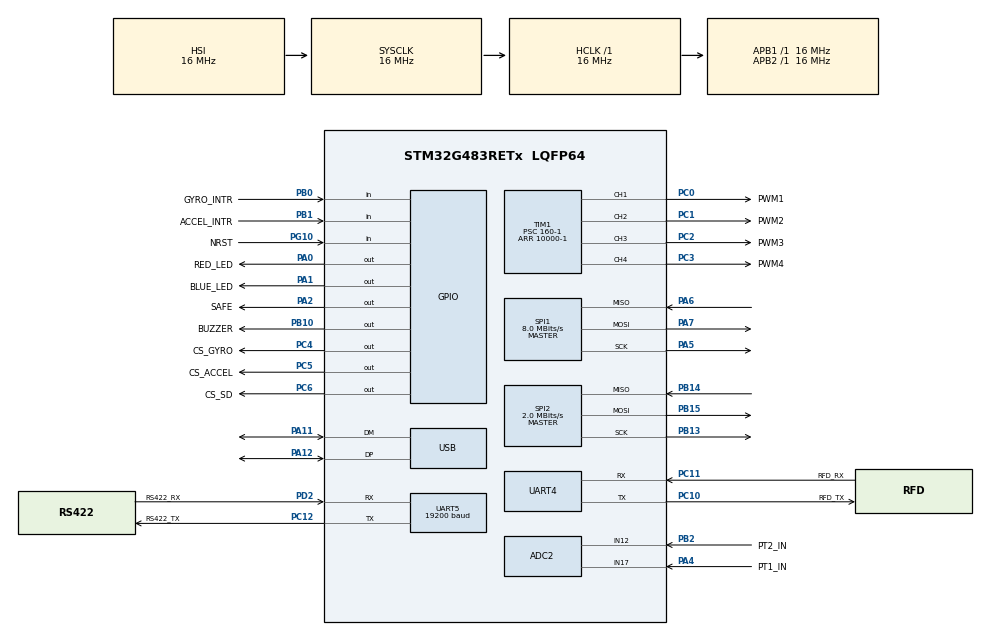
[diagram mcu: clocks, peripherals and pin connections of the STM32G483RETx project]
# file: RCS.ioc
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ADC2.Channel-1\#ChannelRegularConversion=ADC_CHANNEL_17
ADC2.Channel-2\#ChannelRegularConversion=ADC_CHANNEL_12
ADC2.ContinuousConvMode=DISABLE
ADC2.DMAContinuousRequests=ENABLE
ADC2.EOCSelection=ADC_EOC_SEQ_CONV
ADC2.NbrOfConversion=2
ADC2.NbrOfConversionFlag=1
ADC2.OffsetNumber-1\#ChannelRegularConversion=ADC_OFFSET_NONE
ADC2.OffsetNumber-2\#ChannelRegularConversion=ADC_OFFSET_NONE
ADC2.Rank-1\#ChannelRegularConversion=1
ADC2.Rank-2\#ChannelRegularConversion=2
ADC2.SamplingTime-1\#ChannelRegularConversion=ADC_SAMPLETIME_6CYCLES_5
ADC2.SamplingTime-2\#ChannelRegularConversion=ADC_SAMPLETIME_6CYCLES_5
Dma.ADC2.1.Direction=DMA_PERIPH_TO_MEMORY
Dma.ADC2.1.EventEnable=DISABLE
Dma.ADC2.1.Instance=DMA1_Channel2
Dma.ADC2.1.MemDataAlignment=DMA_MDATAALIGN_HALFWORD
Dma.ADC2.1.MemInc=DMA_MINC_ENABLE
Dma.ADC2.1.Mode=DMA_NORMAL
Dma.ADC2.1.PeriphDataAlignment=DMA_PDATAALIGN_HALFWORD
Dma.ADC2.1.PeriphInc=DMA_PINC_DISABLE
Dma.ADC2.1.Polarity=HAL_DMAMUX_REQ_GEN_RISING
Dma.ADC2.1.Priority=DMA_PRIORITY_LOW
Dma.ADC2.1.RequestNumber=1
Dma.ADC2.1.SignalID=NONE
Dma.ADC2.1.SyncEnable=DISABLE
Dma.ADC2.1.SyncPolarity=HAL_DMAMUX_SYNC_NO_EVENT
Dma.ADC2.1.SyncRequestNumber=1
Dma.ADC2.1.SyncSignalID=NONE
Dma.Request0=UART4_RX
Dma.Request1=ADC2
Dma.Request2=UART5_RX
Dma.Request3=UART4_TX
Dma.UART4_RX.0.Direction=DMA_PERIPH_TO_MEMORY
Dma.UART4_RX.0.EventEnable=DISABLE
Dma.UART4_RX.0.Instance=DMA1_Channel1
Dma.UART4_RX.0.MemDataAlignment=DMA_MDATAALIGN_BYTE
Dma.UART4_RX.0.MemInc=DMA_MINC_ENABLE
Dma.UART4_RX.0.Mode=DMA_NORMAL
Dma.UART4_RX.0.PeriphDataAlignment=DMA_PDATAALIGN_BYTE
Dma.UART4_RX.0.PeriphInc=DMA_PINC_DISABLE
Dma.UART4_RX.0.Polarity=HAL_DMAMUX_REQ_GEN_RISING
Dma.UART4_RX.0.Priority=DMA_PRIORITY_LOW
Dma.UART4_RX.0.RequestNumber=1
Dma.UART4_RX.0.SignalID=NONE
Dma.UART4_RX.0.SyncEnable=DISABLE
Dma.UART4_RX.0.SyncPolarity=HAL_DMAMUX_SYNC_NO_EVENT
Dma.UART4_RX.0.SyncRequestNumber=1
Dma.UART4_RX.0.SyncSignalID=NONE
Dma.UART4_TX.3.Direction=DMA_MEMORY_TO_PERIPH
Dma.UART4_TX.3.EventEnable=DISABLE
Dma.UART4_TX.3.Instance=DMA1_Channel4
Dma.UART4_TX.3.MemDataAlignment=DMA_MDATAALIGN_BYTE
Dma.UART4_TX.3.MemInc=DMA_MINC_ENABLE
Dma.UART4_TX.3.Mode=DMA_NORMAL
Dma.UART4_TX.3.PeriphDataAlignment=DMA_PDATAALIGN_BYTE
Dma.UART4_TX.3.PeriphInc=DMA_PINC_DISABLE
Dma.UART4_TX.3.Polarity=HAL_DMAMUX_REQ_GEN_RISING
Dma.UART4_TX.3.Priority=DMA_PRIORITY_LOW
Dma.UART4_TX.3.RequestNumber=1
Dma.UART4_TX.3.SignalID=NONE
Dma.UART4_TX.3.SyncEnable=DISABLE
Dma.UART4_TX.3.SyncPolarity=HAL_DMAMUX_SYNC_NO_EVENT
Dma.UART4_TX.3.SyncRequestNumber=1
Dma.UART4_TX.3.SyncSignalID=NONE
Dma.UART5_RX.2.Direction=DMA_PERIPH_TO_MEMORY
Dma.UART5_RX.2.EventEnable=DISABLE
Dma.UART5_RX.2.Instance=DMA1_Channel3
Dma.UART5_RX.2.MemDataAlignment=DMA_MDATAALIGN_BYTE
Dma.UART5_RX.2.MemInc=DMA_MINC_ENABLE
Dma.UART5_RX.2.Mode=DMA_NORMAL
Dma.UART5_RX.2.PeriphDataAlignment=DMA_PDATAALIGN_BYTE
Dma.UART5_RX.2.PeriphInc=DMA_PINC_DISABLE
Dma.UART5_RX.2.Polarity=HAL_DMAMUX_REQ_GEN_RISING
Dma.UART5_RX.2.Priority=DMA_PRIORITY_LOW
Dma.UART5_RX.2.RequestNumber=1
Dma.UART5_RX.2.SignalID=NONE
Dma.UART5_RX.2.SyncEnable=DISABLE
Dma.UART5_RX.2.SyncPolarity=HAL_DMAMUX_SYNC_NO_EVENT
Dma.UART5_RX.2.SyncRequestNumber=1
Dma.UART5_RX.2.SyncSignalID=NONE
FATFS._MAX_SS=4096
FATFS._USE_LABEL=0
FATFS._USE_LFN=2
FREERTOS.BinarySemaphores01=testSemaphore,Dynamic,NULL,Available
FREERTOS.Mutexes01=AttitudeMutex,Dynamic,NULL,Available
FREERTOS.Tasks01=defaultTask,40,200,StartDefaultTask,Default,NULL,Dynamic,NULL,NULL;controlLoop,47,2000,StartControlLoop,Default,NULL,Dynamic,NULL,NULL;readImu,46,2000,StartReadIMU,Default,NULL,Dynamic,NULL,NULL;stream,28,2000,StartStream,Default,NULL,Dynamic,NULL,NULL;log,29,2000,StartLog,Default,NULL,Dynamic,NULL,NULL;userMenu,8,2000,StartUserMenu,Default,NULL,Dynamic,NULL,NULL
FREERTOS.configCHECK_FOR_STACK_OVERFLOW=2
FREERTOS.configTOTAL_HEAP_SIZE=50000
Mcu.Family=STM32G4
Mcu.Name=STM32G483RETx
Mcu.Package=LQFP64
NVIC.DMA1_Channel1_IRQn=true\:5\:0\:false\:false\:true\:true\:false\:true\:true
NVIC.DMA1_Channel2_IRQn=true\:5\:0\:false\:false\:true\:true\:false\:true\:true
NVIC.DMA1_Channel3_IRQn=true\:5\:0\:false\:false\:true\:true\:false\:true\:true
NVIC.DMA1_Channel4_IRQn=true\:5\:0\:false\:false\:true\:true\:false\:true\:true
NVIC.PriorityGroup=NVIC_PRIORITYGROUP_4
NVIC.TIM6_DAC_IRQn=true\:15\:0\:true\:false\:true\:false\:false\:true\:true
NVIC.TimeBase=TIM6_DAC_IRQn
NVIC.TimeBaseIP=TIM6
NVIC.UART4_IRQn=true\:5\:0\:false\:false\:true\:true\:true\:true\:true
NVIC.USB_LP_IRQn=true\:5\:0\:false\:false\:true\:true\:false\:true\:true
PA0.GPIO_Label=RED_LED
PA0.Signal=GPIO_Output
PA1.GPIO_Label=BLUE_LED
PA1.Signal=GPIO_Output
PA11.Mode=Device
PA11.Signal=USB_DM
PA12.Mode=Device
PA12.Signal=USB_DP
PA13.Mode=Serial_Wire
PA13.Signal=SYS_JTMS-SWDIO
PA14.Mode=Serial_Wire
PA14.Signal=SYS_JTCK-SWCLK
PA2.GPIO_Label=SAFE
PA2.Signal=GPIO_Output
PA4.GPIO_Label=PT1_IN
PA4.Mode=IN17-Single-Ended
PA4.Signal=ADC2_IN17
PA5.Mode=Full_Duplex_Master
PA5.Signal=SPI1_SCK
PA6.Mode=Full_Duplex_Master
PA6.Signal=SPI1_MISO
PA7.Mode=Full_Duplex_Master
PA7.Signal=SPI1_MOSI
PB0.GPIO_Label=GYRO_INTR
PB0.Signal=GPIO_Input
PB1.GPIO_Label=ACCEL_INTR
PB1.Signal=GPIO_Input
PB10.GPIO_Label=BUZZER
PB10.Signal=GPIO_Output
PB13.Mode=Full_Duplex_Master
PB13.Signal=SPI2_SCK
PB14.Mode=Full_Duplex_Master
PB14.Signal=SPI2_MISO
PB15.Mode=Full_Duplex_Master
PB15.Signal=SPI2_MOSI
PB2.GPIO_Label=PT2_IN
PB2.Mode=IN12-Single-Ended
PB2.Signal=ADC2_IN12
PC0.GPIO_Label=PWM1
PC0.Signal=S_TIM1_CH1
PC1.GPIO_Label=PWM2
PC1.Signal=S_TIM1_CH2
PC10.GPIO_Label=RFD_TX
PC10.Mode=Asynchronous
PC10.Signal=UART4_TX
PC11.GPIO_Label=RFD_RX
PC11.Mode=Asynchronous
PC11.Signal=UART4_RX
PC12.GPIO_Label=RS422_TX
PC12.Mode=Asynchronous
PC12.Signal=UART5_TX
PC14-OSC32_IN.Mode=LSE-External-Oscillator
PC14-OSC32_IN.Signal=RCC_OSC32_IN
PC15-OSC32_OUT.Mode=LSE-External-Oscillator
PC15-OSC32_OUT.Signal=RCC_OSC32_OUT
PC2.GPIO_Label=PWM3
PC2.Signal=S_TIM1_CH3
PC3.GPIO_Label=PWM4
PC3.Signal=S_TIM1_CH4
PC4.GPIO_Label=CS_GYRO
PC4.Signal=GPIO_Output
PC5.GPIO_Label=CS_ACCEL
PC5.Signal=GPIO_Output
PC6.GPIO_Label=CS_SD
PC6.GPIO_Speed=GPIO_SPEED_FREQ_HIGH
PC6.PinState=GPIO_PIN_SET
PC6.Signal=GPIO_Output
PD2.GPIO_Label=RS422_RX
PD2.Mode=Asynchronous
PD2.Signal=UART5_RX
PF0-OSC_IN.Mode=HSE-External-Oscillator
PF0-OSC_IN.Signal=RCC_OSC_IN
PF1-OSC_OUT.Mode=HSE-External-Oscillator
PF1-OSC_OUT.Signal=RCC_OSC_OUT
PG10-NRST.GPIO_Label=NRST
PG10-NRST.Signal=GPIO_Input
ProjectManager.HeapSize=0x200
ProjectManager.StackSize=0x400
ProjectManager.TargetToolchain=CMake
RCC.AHBFreq_Value=16000000
RCC.APB1Freq_Value=16000000
RCC.APB1TimFreq_Value=16000000
RCC.APB2Freq_Value=16000000
RCC.APB2TimFreq_Value=16000000
RCC.CortexFreq_Value=16000000
RCC.EXTERNAL_CLOCK_VALUE=12288000
RCC.HCLKFreq_Value=16000000
RCC.HSE_VALUE=48000000
RCC.HSI48_VALUE=48000000
RCC.HSI_VALUE=16000000
RCC.PLLM=RCC_PLLM_DIV3
RCC.PLLN=12
RCC.PLLQ=RCC_PLLQ_DIV4
RCC.PLLSourceVirtual=RCC_PLLSOURCE_HSE
RCC.SYSCLKFreq_VALUE=16000000
RCC.USBFreq_Value=48000000
RCC.VCOOutputFreq_Value=192000000
SH.S_TIM1_CH1.0=TIM1_CH1,PWM Generation1 CH1
SH.S_TIM1_CH2.0=TIM1_CH2,PWM Generation2 CH2
SH.S_TIM1_CH3.0=TIM1_CH3,PWM Generation3 CH3
SH.S_TIM1_CH4.0=TIM1_CH4,PWM Generation4 CH4
SPI1.BaudRatePrescaler=SPI_BAUDRATEPRESCALER_2
SPI1.CalculateBaudRate=8.0 MBits/s
SPI1.DataSize=SPI_DATASIZE_8BIT
SPI1.Direction=SPI_DIRECTION_2LINES
SPI1.Mode=SPI_MODE_MASTER
SPI1.VirtualType=VM_MASTER
SPI2.BaudRatePrescaler=SPI_BAUDRATEPRESCALER_8
SPI2.CalculateBaudRate=2.0 MBits/s
SPI2.DataSize=SPI_DATASIZE_8BIT
SPI2.Direction=SPI_DIRECTION_2LINES
SPI2.Mode=SPI_MODE_MASTER
SPI2.VirtualType=VM_MASTER
TIM1.Channel-PWM\ Generation1\ CH1=TIM_CHANNEL_1
TIM1.Channel-PWM\ Generation2\ CH2=TIM_CHANNEL_2
TIM1.Channel-PWM\ Generation3\ CH3=TIM_CHANNEL_3
TIM1.Channel-PWM\ Generation4\ CH4=TIM_CHANNEL_4
TIM1.PeriodNoDither=10000-1
TIM1.Prescaler=160-1
UART5.BaudRate=19200
UART5.Mode=MODE_RX
USB_DEVICE.APP_RX_DATA_SIZE=512
USB_DEVICE.APP_TX_DATA_SIZE=512
USB_DEVICE.CLASS_NAME_FS=CDC
USB_DEVICE.USBD_SELF_POWERED=1
USB_DEVICE.VirtualMode=Cdc
USB_DEVICE.VirtualModeFS=Cdc_FS
VP_FATFS_VS_Generic.Mode=User_defined
VP_FREERTOS_VS_CMSIS_V2.Mode=CMSIS_V2
VP_SYS_VS_DBSignals.Mode=DisableDeadBatterySignals
VP_SYS_VS_tim6.Mode=TIM6
VP_TIM1_VS_ClockSourceINT.Mode=Internal
VP_TIM2_VS_ClockSourceINT.Mode=Internal
VP_USB_DEVICE_VS_USB_DEVICE_CDC_FS.Mode=CDC_FS
board=custom

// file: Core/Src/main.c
/* USER CODE BEGIN Header */
/**
  ******************************************************************************
  * @file           : main.c
  * @brief          : Main program body
  ******************************************************************************
  * @attention
  *
  * Copyright (c) 2026 STMicroelectronics.
  * All rights reserved.
  *
  * This software is licensed under terms that can be found in the LICENSE file
  * in the root directory of this software component.
  * If no LICENSE file comes with this software, it is provided AS-IS.
  *
  ******************************************************************************
  */
/* USER CODE END Header */
#include "main.h"
#include "PID.h"
#include "cmsis_os.h"
#include "adc.h"
#include "dma.h"
#include "app_fatfs.h"
#include "spi.h"
#include "tim.h"
#include "usart.h"
#include "usb_device.h"
#include "gpio.h"

/* USER CODE BEGIN Includes */
#include "bmi088.h"
#include "ff.h"
#include "control.h"
#include "global.h"
#include "sd.h"
#include "usbd_cdc_if.h"

#include "stm32g483xx.h"
#include "stm32g4xx_hal.h"
#include "stm32g4xx_hal_gpio.h"
#include "stm32g4xx_hal_spi.h"
#include <stdint.h>
#include <stdio.h>

#include <stdbool.h>
#include <string.h>
#include <math.h>
#include <sys/_intsup.h>
#include "usbd_cdc_if.h"
#include "usbd_def.h"

/* USER CODE END Includes */

/* USER CODE BEGIN PV */
// Global attitude-related structs -------------------------
AccData accel_data;
GyroData gyro_data;
FullData full_data;

// USB variables, from usbd_cdc_if.h-----------------------
extern uint8_t received_flag;
extern uint32_t received_length;
extern uint8_t UserRxBufferFS[APP_RX_DATA_SIZE];

// Pressure ----------------------------------------------
volatile uint8_t pt_adc_flag = 0;
volatile char pt_dma_buf[20];

// RFD----------------------------------------------------
volatile uint8_t rfd_rx_flag = 0;
int rfd_tx_flag = 1;

// RFD command receive (start / stop / ping) ---------------
volatile char rfd_rx_byte;              // one received byte from DMA
char rfd_cmd[16];                       // command being assembled
volatile uint8_t rfd_cmd_len = 0;
volatile uint8_t rfd_cmd_ready = 0;     // 1 = complete command waiting
volatile uint32_t rfd_last_rx_tick = 0; // tick of last complete command

// Thruster arming: board boots DISARMED, only "start" over radio enables
volatile uint8_t thrusters_armed = 0;

// Load cell----------------------------------------------
char load_cell_dma_buf[20];
char load_cell_usb_buf[40];
volatile uint8_t rx_load_cell = 0;
volatile uint8_t load_cell_ready;

/* USER CODE END PV */

void SystemClock_Config(void);
void MX_FREERTOS_Init(void);
/* USER CODE BEGIN PFP */

void pwm_logic(float acc_y) {

  if (acc_y > 200 && acc_y <= 450) {
    TIM1->CCR1 = 0;
    TIM1->CCR2 = 2500;
  }
  else if (acc_y > 450) {
    TIM1->CCR1 = 0;
    TIM1->CCR2 = 5000;
  }
  else if (acc_y <= 200 && acc_y >= -200) {
    TIM1->CCR1 = 0;
    TIM1->CCR2 = 0;
  }
  else if (acc_y < -200 && acc_y >= -450) {
    TIM1->CCR1 = 2500;
    TIM1->CCR2 = 0;
  }
  else if (acc_y < -450) {
    TIM1->CCR1 = 5000;
    TIM1->CCR2 = 0;
  }

}

int _write(int file, char *ptr, int len) {
  while (CDC_Transmit_FS((uint8_t *)ptr, len) == USBD_BUSY) {
    HAL_Delay(1);
  }

  return(len);
}
void HAL_UART_RxCpltCallback(UART_HandleTypeDef *huart) {
  // RFD
  if (huart->Instance == UART4) {
    char c = rfd_rx_byte;
    if (c == '\r' || c == '\n') {
      if (rfd_cmd_len > 0 && !rfd_cmd_ready) {
        rfd_cmd[rfd_cmd_len] = '\0';
        rfd_cmd_ready = 1;
      }
      rfd_cmd_len = 0;
    } else if (!rfd_cmd_ready && rfd_cmd_len < sizeof(rfd_cmd) - 1) {
      rfd_cmd[rfd_cmd_len++] = c;
    }
    rfd_rx_flag = 1;
    HAL_UART_Receive_DMA(&huart4, (uint8_t *)&rfd_rx_byte, 1); // listen for next byte
  }
  // Load cell
  else if (huart->Instance == UART5) {
    memcpy(load_cell_usb_buf, load_cell_dma_buf, 11);
    load_cell_ready = 1;
    HAL_UART_Receive_DMA(&huart5, (uint8_t *)load_cell_dma_buf, 11);
    HAL_GPIO_TogglePin(RED_LED_GPIO_Port, RED_LED_Pin);

  }
}

// If radio noise causes a UART error, HAL stops receiving. Restart it so a
// "stop" command can always get through.
void HAL_UART_ErrorCallback(UART_HandleTypeDef *huart) {
  if (huart->Instance == UART4) {
    rfd_cmd_len = 0;
    HAL_UART_Receive_DMA(&huart4, (uint8_t *)&rfd_rx_byte, 1);
  }
}

void HAL_UART_TxCpltCallback(UART_HandleTypeDef *huart) {
  rfd_tx_flag = 1;
  // HAL_GPIO_TogglePin(BLUE_LED_GPIO_Port, BLUE_LED_Pin);
};

void HAL_ADC_ConvCpltCallback(ADC_HandleTypeDef *hadc) {
  pt_adc_flag = 1;
}
/* USER CODE END PFP */

int main(void)
{

  /* MCU Configuration--------------------------------------------------------*/

  /* Reset of all peripherals, Initializes the Flash interface and the Systick. */
  HAL_Init();

  /* Configure the system clock */
  SystemClock_Config();

  /* Initialize all configured peripherals */
  MX_GPIO_Init();
  MX_DMA_Init();
  MX_SPI1_Init();
  MX_SPI2_Init();
  MX_TIM1_Init();
  if (MX_FATFS_Init() != APP_OK) {
    Error_Handler();
  }
  MX_ADC2_Init();
  MX_UART4_Init();
  MX_UART5_Init();
  MX_TIM2_Init();
  /* USER CODE BEGIN 2 */
  // MX_USB_Device_Init(); // <-------------------------------------------------

  HAL_TIM_PWM_Start(&htim1, TIM_CHANNEL_1);
  HAL_TIM_PWM_Start(&htim1, TIM_CHANNEL_2);
  HAL_TIM_PWM_Start(&htim1, TIM_CHANNEL_3);
  HAL_TIM_PWM_Start(&htim1, TIM_CHANNEL_4);
  if (accel_init() != 30) {
    HAL_GPIO_TogglePin(RED_LED_GPIO_Port, RED_LED_Pin);
  }
  // Set solenoid valves initially closed
  TIM1->CCR1 = 0; // 5000 is 50% duty cycle for ARR = 10,000
  TIM1->CCR2 = 0;
  TIM1->CCR3 = 0;
  TIM1->CCR4 = 0;

  // Need to iniatite once so that callback function will be called
  HAL_UART_Receive_DMA(&huart4, (uint8_t *)&rfd_rx_byte, 1); // RFD commands, 1 byte at a time
  HAL_UART_Receive_DMA(&huart5, (uint8_t *)load_cell_dma_buf, 11);
  /* USER CODE END 2 */

  /* Init scheduler */
  osKernelInitialize();  /* Call init function for freertos objects (in cmsis_os2.c) */
  MX_FREERTOS_Init();

  /* Start scheduler */
  osKernelStart();

  /* We should never get here as control is now taken by the scheduler */

  /* Infinite loop */
  /* USER CODE BEGIN WHILE */
  /* USER CODE END 3 */

  while (1)
  {
    /* USER CODE END WHILE */

  }
}

void SystemClock_Config(void)
{
  RCC_OscInitTypeDef RCC_OscInitStruct = {0};
  RCC_ClkInitTypeDef RCC_ClkInitStruct = {0};

  /** Configure the main internal regulator output voltage
  */
  HAL_PWREx_ControlVoltageScaling(PWR_REGULATOR_VOLTAGE_SCALE1);

  /** Initializes the RCC Oscillators according to the specified parameters
  * in the RCC_OscInitTypeDef structure.
  */
  RCC_OscInitStruct.OscillatorType = RCC_OSCILLATORTYPE_HSI|RCC_OSCILLATORTYPE_HSE;
  RCC_OscInitStruct.HSEState = RCC_HSE_ON;
  RCC_OscInitStruct.HSIState = RCC_HSI_ON;
  RCC_OscInitStruct.HSICalibrationValue = RCC_HSICALIBRATION_DEFAULT;
  RCC_OscInitStruct.PLL.PLLState = RCC_PLL_ON;
  RCC_OscInitStruct.PLL.PLLSource = RCC_PLLSOURCE_HSE;
  RCC_OscInitStruct.PLL.PLLM = RCC_PLLM_DIV3;
  RCC_OscInitStruct.PLL.PLLN = 12;
  RCC_OscInitStruct.PLL.PLLP = RCC_PLLP_DIV2;
  RCC_OscInitStruct.PLL.PLLQ = RCC_PLLQ_DIV4;
  RCC_OscInitStruct.PLL.PLLR = RCC_PLLR_DIV2;
  if (HAL_RCC_OscConfig(&RCC_OscInitStruct) != HAL_OK)
  {
    Error_Handler();
  }

  /** Initializes the CPU, AHB and APB buses clocks
  */
  RCC_ClkInitStruct.ClockType = RCC_CLOCKTYPE_HCLK|RCC_CLOCKTYPE_SYSCLK
                              |RCC_CLOCKTYPE_PCLK1|RCC_CLOCKTYPE_PCLK2;
  RCC_ClkInitStruct.SYSCLKSource = RCC_SYSCLKSOURCE_HSI;
  RCC_ClkInitStruct.AHBCLKDivider = RCC_SYSCLK_DIV1;
  RCC_ClkInitStruct.APB1CLKDivider = RCC_HCLK_DIV1;
  RCC_ClkInitStruct.APB2CLKDivider = RCC_HCLK_DIV1;

  if (HAL_RCC_ClockConfig(&RCC_ClkInitStruct, FLASH_LATENCY_0) != HAL_OK)
  {
    Error_Handler();
  }
}

void HAL_TIM_PeriodElapsedCallback(TIM_HandleTypeDef *htim)
{
  if (htim->Instance == TIM6)
  {
    HAL_IncTick();
  }
}

void Error_Handler(void)
{
  __disable_irq();
  while (1)
  {
  }
}

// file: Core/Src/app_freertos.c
/* USER CODE BEGIN Header */
/**
  ******************************************************************************
  * File Name          : app_freertos.c
  * Description        : Code for freertos applications
  ******************************************************************************
  * @attention
  *
  * Copyright (c) 2026 STMicroelectronics.
  * All rights reserved.
  *
  * This software is licensed under terms that can be found in the LICENSE file
  * in the root directory of this software component.
  * If no LICENSE file comes with this software, it is provided AS-IS.
  *
  ******************************************************************************
  */
/* USER CODE END Header */

#include "FreeRTOS.h"
#include "ff.h"
#include "stm32g4xx_hal.h"
#include "PID.h"
#include "cmsis_os2.h"
#include "stm32g4xx_hal_gpio.h"
#include "stm32g4xx_hal_uart.h"
#include "task.h"
#include "main.h"
#include "cmsis_os.h"

#include "usb_device.h"

/* USER CODE BEGIN Includes */
#include "usart.h"
#include "pid.h"
#include "bmi088.h"
#include "sd.h"
#include "global.h"
#include <stdint.h>
#include <stdio.h>
#include <string.h>
#include "usbd_cdc.h"
#include "usbd_cdc_if.h"
#include "usbd_def.h"
#include <inttypes.h>
#include <sys/_intsup.h>
/* USER CODE END Includes */

/* USER CODE BEGIN Variables */
// Global attitude-related structs -------------------------
extern AccData accel_data;
extern GyroData gyro_data;
extern PID_params pid_pitch;
extern PID_params pid_yaw;
extern FullData full_data;

// extern USBD_HandleTypeDef hUsbDeviceFS;
extern ADC_HandleTypeDef hadc2;

// USB variables, from usbd_cdc_if.h-----------------------
extern uint8_t received_flag;
extern uint32_t received_length;
extern uint8_t UserRxBufferFS[APP_RX_DATA_SIZE];

// Pressure ----------------------------------------------
extern volatile uint8_t pt_adc_flag;
extern volatile char pt_dma_buf[20];

// PT params-----------------------------
volatile uint16_t adc_val[2];
float high_pressure;
float low_pressure;
float high_pt_v;
float low_pt_v;
char pt_buf[50];

// RFD ------------------------------------------------------
extern volatile uint8_t rfd_rx_flag;
extern int rfd_tx_flag;
char rfd_buf[200]; // buffer overflow woops maybe switch to snprintf
char rfd_rx_buf[30];

// Load cell -----------------------------------------------
extern char load_cell_dma_buf[20];
extern char load_cell_usb_buf[40];
extern volatile uint8_t rx_load_cell;
extern volatile uint8_t load_cell_ready;

// PID ----------------------------
float pitch_duty, yaw_duty;
int activate_thrusters = 0;

/* USER CODE END Variables */
/* Definitions for defaultTask */
osThreadId_t defaultTaskHandle;
const osThreadAttr_t defaultTask_attributes = {
  .name = "defaultTask",
  .priority = (osPriority_t) osPriorityHigh,
  .stack_size = 200 * 4
};
/* Definitions for controlLoop */
osThreadId_t controlLoopHandle;
const osThreadAttr_t controlLoop_attributes = {
  .name = "controlLoop",
  .priority = (osPriority_t) osPriorityHigh7,
  .stack_size = 2000 * 4
};
/* Definitions for readImu */
osThreadId_t readImuHandle;
const osThreadAttr_t readImu_attributes = {
  .name = "readImu",
  .priority = (osPriority_t) osPriorityHigh6,
  .stack_size = 2000 * 4
};
/* Definitions for stream */
osThreadId_t streamHandle;
const osThreadAttr_t stream_attributes = {
  .name = "stream",
  .priority = (osPriority_t) osPriorityNormal4,
  .stack_size = 2000 * 4
};
/* Definitions for log */
osThreadId_t logHandle;
const osThreadAttr_t log_attributes = {
  .name = "log",
  .priority = (osPriority_t) osPriorityNormal5,
  .stack_size = 2000 * 4
};
/* Definitions for userMenu */
osThreadId_t userMenuHandle;
const osThreadAttr_t userMenu_attributes = {
  .name = "userMenu",
  .priority = (osPriority_t) osPriorityLow,
  .stack_size = 2000 * 4
};
/* Definitions for AttitudeMutex */
osMutexId_t AttitudeMutexHandle;
const osMutexAttr_t AttitudeMutex_attributes = {
  .name = "AttitudeMutex"
};
/* Definitions for testSemaphore */
osSemaphoreId_t testSemaphoreHandle;
const osSemaphoreAttr_t testSemaphore_attributes = {
  .name = "testSemaphore"
};

void StartDefaultTask(void *argument);
void StartControlLoop(void *argument);
void StartReadIMU(void *argument);
void StartStream(void *argument);
void StartLog(void *argument);
void StartUserMenu(void *argument);

void MX_FREERTOS_Init(void); /* (MISRA C 2004 rule 8.1) */

/* Hook prototypes */
void vApplicationStackOverflowHook(xTaskHandle xTask, signed char *pcTaskName);

/* USER CODE BEGIN 4 */
void vApplicationStackOverflowHook(xTaskHandle xTask, signed char *pcTaskName)
{
   /* Run time stack overflow checking is performed if
   configCHECK_FOR_STACK_OVERFLOW is defined to 1 or 2. This hook function is
   called if a stack overflow is detected. */
   printf("stack overflow occured in task %s\n", pcTaskName);
   while(1) {
    // stay here don't corrupt memory
   }
}
/* USER CODE END 4 */

void MX_FREERTOS_Init(void) {
  /* Create the mutex(es) */
  /* creation of AttitudeMutex */
  AttitudeMutexHandle = osMutexNew(&AttitudeMutex_attributes);

  /* Create the semaphores(s) */
  /* creation of testSemaphore */
  testSemaphoreHandle = osSemaphoreNew(1, 1, &testSemaphore_attributes);

  /* Create the thread(s) */
  /* creation of defaultTask */
  defaultTaskHandle = osThreadNew(StartDefaultTask, NULL, &defaultTask_attributes);

  /* creation of controlLoop */
  controlLoopHandle = osThreadNew(StartControlLoop, NULL, &controlLoop_attributes);

  /* creation of readImu */
  readImuHandle = osThreadNew(StartReadIMU, NULL, &readImu_attributes);

  /* creation of stream */
  streamHandle = osThreadNew(StartStream, NULL, &stream_attributes);

  /* creation of log */
  logHandle = osThreadNew(StartLog, NULL, &log_attributes);

  /* creation of userMenu */
  userMenuHandle = osThreadNew(StartUserMenu, NULL, &userMenu_attributes);

}

void StartDefaultTask(void *argument)
{
  /* init code for USB_Device */
  MX_USB_Device_Init();
  for(;;)
  {
    osDelay(1);
  }
}

void StartControlLoop(void *argument)
{
  /* USER CODE BEGIN StartControlLoop */
  float pitch_duty, yaw_duty;
  pid_init(&pid_pitch);
  pid_init(&pid_yaw);
  /* Infinite loop */
  for(;;)
  {
    osMutexAcquire(AttitudeMutexHandle, osWaitForever);
    pitch_duty = pid_update(&pid_pitch, 0, full_data.pitch, 0.2);
    yaw_duty = pid_update(&pid_yaw, 0, full_data.yaw, 0.2);
    // HAL_GPIO_TogglePin(BLUE_LED_GPIO_Port, BLUE_LED_Pin);
    full_data.pitch_error = pid_pitch.error;
    full_data.yaw_error = pid_yaw.error;
    full_data.pitch_duty = pitch_duty;
    full_data.yaw_duty = yaw_duty;
    osMutexRelease(AttitudeMutexHandle);

    if (activate_thrusters == 1) {
      select_thruster(pid_pitch.error, pitch_duty, pid_yaw.error, yaw_duty, 0.2);
    }
    osDelay(100); // 10 Hz, 100ms
  }
  /* USER CODE END StartControlLoop */
}

void StartReadIMU(void *argument)
{
  /* USER CODE BEGIN StartReadIMU */
  // HIGHEST PRIORITY TASK
  float accel_pitch, accel_yaw;
  float prev_pitch = 0, prev_yaw = 0;
  float curr_pitch, curr_yaw;
  /* Infinite loop */
  for(;;)
  {
    accel_burst_read(&accel_data);
    gyro_burst_read(&gyro_data);

    accel_to_angle(accel_data, &accel_pitch, &accel_yaw);
    curr_pitch = comp_filter(0.6, 0.1, prev_pitch, -gyro_data.rate_z, accel_pitch); // change dt?
    curr_yaw = comp_filter(0.6, 0.1, prev_yaw, -gyro_data.rate_y, accel_yaw); // could be gyro z?
    prev_pitch = curr_pitch;
    prev_yaw = curr_yaw;

      // Write to shared struct safely to pass to PID controller and to log
    osMutexAcquire(AttitudeMutexHandle, osWaitForever);
    // attitude.est_pitch = curr_pitch;
    // attitude.est_yaw = curr_yaw;

    full_data.rate_x = gyro_data.rate_x;
    full_data.rate_y = gyro_data.rate_y;
    full_data.rate_z = gyro_data.rate_z;
    full_data.acc_x = accel_data.acc_x;
    full_data.acc_y = accel_data.acc_y;
    full_data.acc_z = accel_data.acc_z;
    full_data.pitch_accel = accel_pitch;
    full_data.yaw_accel = accel_yaw;
    full_data.pitch = curr_pitch;
    full_data.yaw = curr_yaw;
    osMutexRelease(AttitudeMutexHandle);

    osDelay(10); // 100 Hz, 10ms
  /* USER CODE END StartReadIMU */
  }
}
void StartStream(void *argument)
{
  /* USER CODE BEGIN StartStream */
  float supply_voltage = 4.84; // 11.74V battery, configurable
  float zero_voltage = 0.1*supply_voltage;
  float full_scale_voltage = 0.9*supply_voltage;
  float voltage_span = full_scale_voltage-zero_voltage;
  float pressure_span = 200; // 0-200 bar PT
  float pressure_offset1 = 3.8; // Constant offset if needed
  float pressure_offset2 = 3.8;
  /* Infinite loop */
  for(;;)
  {
    HAL_ADC_Start_DMA(&hadc2, (uint32_t *)adc_val, 2);
    high_pt_v = (13.6f/10.0f)*(3.3f/4095.0f)*adc_val[0];
    low_pt_v  = (13.6f/10.0f)*(3.3f/4095.0f)*adc_val[1];
    high_pressure = (high_pt_v - zero_voltage)*(pressure_span/voltage_span) + pressure_offset1;
    low_pressure = (low_pt_v - zero_voltage)*(pressure_span/voltage_span) + pressure_offset2;

    // Pass in attitude struct atomically
    osMutexAcquire(AttitudeMutexHandle, osWaitForever);

    // Send over rfd, non-blocking
    // if (rfd_tx_flag == 1) {
    //   sprintf(rfd_buf, "%lu,%.2f,%.2f,%.2f,%.2f,%.2f,%.2f,%.2f,%.2f,%.2f,%.2f,%.2f,%.2f,%.2f,%.2f,%.2f,%.2f\r\n",
    //     xTaskGetTickCount(),
    //     full_data.rate_x, full_data.rate_y, full_data.rate_z,
    //     full_data.acc_x, full_data.acc_y, full_data.acc_z,
    //     full_data.pitch_accel, full_data.yaw_accel,
    //     full_data.pitch, full_data.yaw,
    //     full_data.pitch_error, full_data.yaw_error,
    //     full_data.pitch_duty, full_data.yaw_duty,
    //     high_pressure, low_pressure
    //   );
    //   HAL_UART_Transmit_DMA(&huart4, (uint8_t *)rfd_buf, strlen(rfd_buf));

    //   rfd_tx_flag = 0; // ensures we only transmit after previos=us transmission completed
    // }

    // Send over USB
    sprintf(rfd_buf, "%lu,%.2f,%.2f,%.2f,%.2f,%.2f,%.2f,%.2f,%.2f,%.2f,%.2f,%.2f,%.2f,%.2f,%.2f,%.2f,%.2f\r\n",
        xTaskGetTickCount(),
        full_data.rate_x, full_data.rate_y, full_data.rate_z,
        full_data.acc_x, full_data.acc_y, full_data.acc_z,
        full_data.pitch_accel, full_data.yaw_accel,
        full_data.pitch, full_data.yaw,
        full_data.pitch_error, full_data.yaw_error,
        full_data.pitch_duty, full_data.yaw_duty,
        high_pressure, low_pressure
      );
    CDC_Transmit_FS((uint8_t *)rfd_buf, strlen(rfd_buf));
    HAL_GPIO_TogglePin(BLUE_LED_GPIO_Port, BLUE_LED_Pin);
    osMutexRelease(AttitudeMutexHandle);
    osDelay(95); // 10Hz, 100ms
  }
  /* USER CODE END StartStream */
}

void StartLog(void *argument)
{
  /* USER CODE BEGIN StartLog */
  FRESULT FR_Status;
  UINT WWC;

  FR_Status = f_mount(&FatFs, "", 0);
  if (FR_Status != FR_OK) {
    HAL_GPIO_TogglePin(RED_LED_GPIO_Port, RED_LED_Pin);
  }

  FR_Status = f_open(&Fil, "full_data.csv", FA_WRITE | FA_READ | FA_CREATE_ALWAYS);
  if (FR_Status != FR_OK) {
    // HAL_GPIO_TogglePin(RED_LED_GPIO_Port, RED_LED_Pin);
  }

  char sd_buf[200];
  float start = xTaskGetTickCount();
  /* Infinite loop */
  for(;;)
  {
    osMutexAcquire(AttitudeMutexHandle, 100);
    sprintf(sd_buf, "%lu,%.2f,%.2f,%.2f,%.2f,%.2f,%.2f,%.2f,%.2f,%.2f,%.2f,%.2f,%.2f,%.2f,%.2f,%.2f,%.2f\r\n",
        xTaskGetTickCount(),
        full_data.rate_x, full_data.rate_y, full_data.rate_z,
        full_data.acc_x, full_data.acc_y, full_data.acc_z,
        full_data.pitch_accel, full_data.yaw_accel,
        full_data.pitch, full_data.yaw,
        full_data.pitch_error, full_data.yaw_error,
        full_data.pitch_duty, full_data.yaw_duty,
        high_pressure, low_pressure
      );
    osMutexRelease(AttitudeMutexHandle);
    f_write(&Fil, sd_buf, strlen(sd_buf), &WWC);

    if (xTaskGetTickCount()-start >= 120000) {// 2 minutes
      f_close(&Fil);
      f_mount(NULL, "", 0);
      HAL_GPIO_TogglePin(RED_LED_GPIO_Port, RED_LED_Pin);

      osDelay(osWaitForever);
    }
    osDelay(1); // 100Hz, 10ms
  }
  /* USER CODE END StartLog */
}

void StartUserMenu(void *argument)
{
  /* USER CODE BEGIN StartUserMenu */
  /* Infinite loop */
  for(;;)
  {
    // if (received_flag == 1) { // USB
    //   received_flag = 0;
    //   if(strncmp((char*)UserRxBufferFS, "open", received_length) == 0) {
    //     TIM1->CCR1 = 10000; // ARR is 10,000, currently PWM freq is 10Hz
    //     printf("valve opened\n");
    //     osDelay(100); // ms
    //     TIM1->CCR1 = 0;
    //     printf("valve closed\n");
    //   }
    //   else if (strncmp((char*)UserRxBufferFS, "close", received_length) == 0) {
    //     TIM1->CCR1 = 0;
    //     // HAL_GPIO_TogglePin(RED_LED_GPIO_Port, RED_LED_Pin);
    //     printf("valve closed\n");
    //   }
    // }
    if (rfd_rx_flag) {
      HAL_UART_Receive_DMA(&huart4, (uint8_t *)rfd_rx_buf, strlen("start"));
      activate_thrusters = 1;
      // HAL_GPIO_TogglePin(RED_LED_GPIO_Port, RED_LED_Pin);
      rfd_rx_flag = 0;
    }
    osDelay(1000); // 1Hz, 1000ms
  }
  /* USER CODE END StartUserMenu */
}
